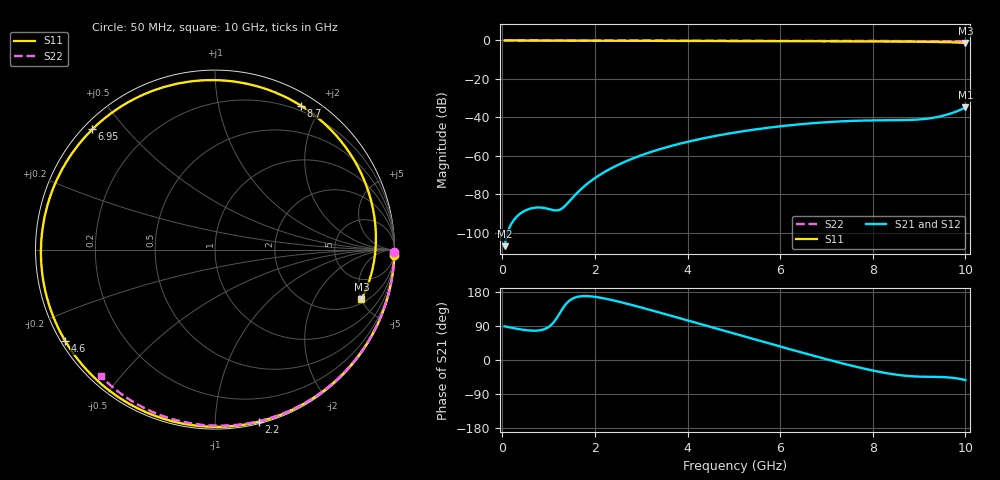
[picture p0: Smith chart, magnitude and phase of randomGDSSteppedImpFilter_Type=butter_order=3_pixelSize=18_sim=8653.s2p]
! freq	dB(S11)	phase(S11)	dB(S12)	phase(S12)
!  dB(S21)	phase(S21)	dB(S22)	phase(S22)
!S-par simulation data
#  GHz  S  DB  R 50
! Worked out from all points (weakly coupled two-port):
!   200 points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, 50 MHz to 10 GHz, reference 50 ohm
!   highest |S21| = -34.80 dB at 10 GHz (marker M1); lowest = -107.0 dB at 50 MHz (marker M2)
!   lowest |S11| = -1.3 dB at 10 GHz (marker M3), VSWR 13.45, Z = 117 - j251 ohm
!   |S11| at or under -10 dB: nowhere
!   |S22| runs from -0.5 to 0.0 dB; largest |S21 - S12| = 0
!   S11 on the Smith chart (normalised r, x): 50 MHz: 0, -63; 2.2 GHz: 0.01, -1.29; 4.6 GHz: 0.01, -0.28; 6.95 GHz: 0.03, +0.41; 8.7 GHz: 0.14, +1.75; 10 GHz: 2.33, -5.01
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0.05  -0.00 -1.8  -106.96 88.8  -106.96 88.8  -0.00 -0.8
0.75  -0.03 -26.7  -86.87 77.6  -86.87 77.6  -0.01 -11.4
1.55  -0.07 -54.2  -80.91 163.9  -80.91 163.9  -0.03 -23.4
1.6  -0.07 -55.9  -79.66 166.0  -79.66 166.0  -0.03 -24.1
1.75  -0.08 -60.9  -76.23 168.7  -76.23 168.7  -0.03 -26.4
2.2  -0.09 -75.7  -68.51 162.5  -68.51 162.5  -0.04 -33.0
2.8  -0.12 -94.7  -61.55 145.1  -61.55 145.1  -0.05 -41.7
3.4  -0.14 -113.0  -56.55 125.1  -56.55 125.1  -0.07 -50.2
3.95  -0.16 -129.5  -52.99 106.2  -52.99 106.2  -0.08 -57.9
4.6  -0.20 -148.7  -49.65 83.7  -49.65 83.7  -0.10 -66.7
5.05  -0.23 -162.1  -47.76 68.2  -47.76 68.2  -0.11 -72.6
5.9  -0.29 171.6  -44.91 39.0  -44.91 39.0  -0.14 -83.6
6.7  -0.36 144.6  -43.02 11.9  -43.02 11.9  -0.18 -93.6
6.95  -0.38 135.6  -42.58 3.7  -42.58 3.7  -0.19 -96.7
7.7  -0.46 105.9  -41.72 -19.6  -41.72 -19.6  -0.24 -105.7
8.05  -0.50 90.6  -41.54 -29.0  -41.54 -29.0  -0.27 -109.8
8.35  -0.54 76.6  -41.47 -35.8  -41.47 -35.8  -0.29 -113.3
8.7  -0.59 59.2  -41.37 -41.5  -41.37 -41.5  -0.32 -117.4
9.05  -0.67 40.6  -40.98 -44.1  -40.98 -44.1  -0.35 -121.4
9.45  -0.80 17.7  -39.52 -44.8  -39.52 -44.8  -0.39 -126.0
9.75  -0.99 -1.1  -37.42 -47.3  -37.42 -47.3  -0.42 -129.4
10  -1.29 -18.7  -34.80 -53.0  -34.80 -53.0  -0.45 -132.2
